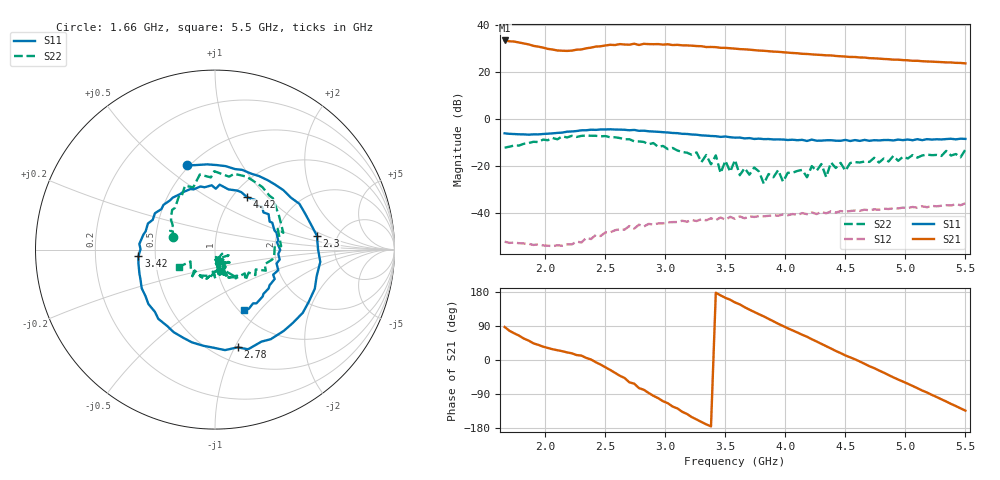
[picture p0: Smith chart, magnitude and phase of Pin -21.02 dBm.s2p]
! RsaToolbox (C) 2015 Rohde & Schwarz America
! Number of points: 97
! Number of ports: 2
! Balanced ports?: No
# Hz S RI R 50
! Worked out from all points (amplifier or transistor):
!   97 points, 1.66 GHz to 5.5 GHz, reference 50 ohm
!   highest |S21| = 33.6 dB at 1.66 GHz (marker M1)
!   |S21| within 3 dB of that: 2.387 GHz to 3.439 GHz (1.053 GHz wide, 36.1 % of centre)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
!   unconditionally stable (mu >= 1): start of sweep to end of sweep
!   at 2.3 GHz: K = 4.15, MAG = 32.1 dB, |S12| = -52.8 dB
!   at 3.58 GHz: K = 1.93, MAG = 30.8 dB, |S12| = -42.7 dB
!   at 5.5 GHz: K = 1.73, MAG = 24.9 dB, |S12| = -36.0 dB
!   S11 on the Smith chart (normalised r, x): 1.66 GHz: 0.48, +0.60; 2.3 GHz: 3.49, +0.80; 2.78 GHz: 0.65, -1.03; 3.42 GHz: 0.40, -0.04; 4.42 GHz: 1.15, +0.77; 5.5 GHz: 1.06, -0.83
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1.66e9  -0.1577 0.4686  2.325 47.69  0.000701 -0.00228  -0.2332 0.0713
1.74e9  -0.0432 0.4749  15.13 42.6  0.00025 -0.00227  -0.25 0.1052
1.9e9  0.1518 0.4441  26.39 25.41  -0.000382 -0.00199  -0.2385 0.2216
2.06e9  0.3371 0.3606  26.88 14.53  -0.000559 -0.00183  -0.1671 0.3561
2.3e9  0.5681 0.0769  30.03 6.162  -0.000562 -0.00222  0.1071 0.4222
2.42e9  0.5668 -0.1466  35.15 -3.615  -0.00162 -0.00291  0.2638 0.3485
2.54e9  0.4889 -0.3524  34.6 -17.08  -0.00226 -0.00302  0.3499 0.2062
2.74e9  0.1847 -0.5553  18.88 -36.05  -0.00421 -0.0017  0.333 0.021
2.78e9  0.126 -0.5446  10.42 -36.78  -0.00512 -0.002  0.3294 -0.0382
2.94e9  -0.1294 -0.5165  -7.43 -39.22  -0.00584 0.000397  0.2272 -0.1106
3.1e9  -0.3162 -0.3854  -23.6 -30.41  -0.00563 0.00277  0.1658 -0.1325
3.22e9  -0.3871 -0.2593  -32.21 -18.08  -0.00558 0.00409  0.0741 -0.1552
3.42e9  -0.4269 -0.0376  -34.32 1.461  -0.00304 0.00618  0.0684 -0.1526
3.58e9  -0.3865 0.1018  -28.14 15.04  -0.000864 0.00728  0.0198 -0.132
3.86e9  -0.2357 0.2891  -8.937 26.7  0.00388 0.00758  0.017 -0.0647
4.02e9  -0.1189 0.3356  2.937 26.07  0.00637 0.00602  0.00016 -0.0707
4.22e9  0.0261 0.3617  13.91 19.67  0.00937 0.00371  0.0634 -0.0754
4.42e9  0.176 0.2948  20.35 9.003  0.00998 -6.16e-06  0.0432 -0.0786
4.66e9  0.2986 0.1974  20.24 -3.593  0.0104 -0.00503  0.0544 -0.1106
4.86e9  0.3523 0.0509  14.6 -12.16  0.00715 -0.00951  -0.0132 -0.1227
5.18e9  0.3325 -0.164  1.254 -16.94  0.000441 -0.013  -0.0633 -0.1616
5.5e9  0.1633 -0.3371  -10.65 -11.2  -0.0091 -0.0129  -0.2004 -0.0964
